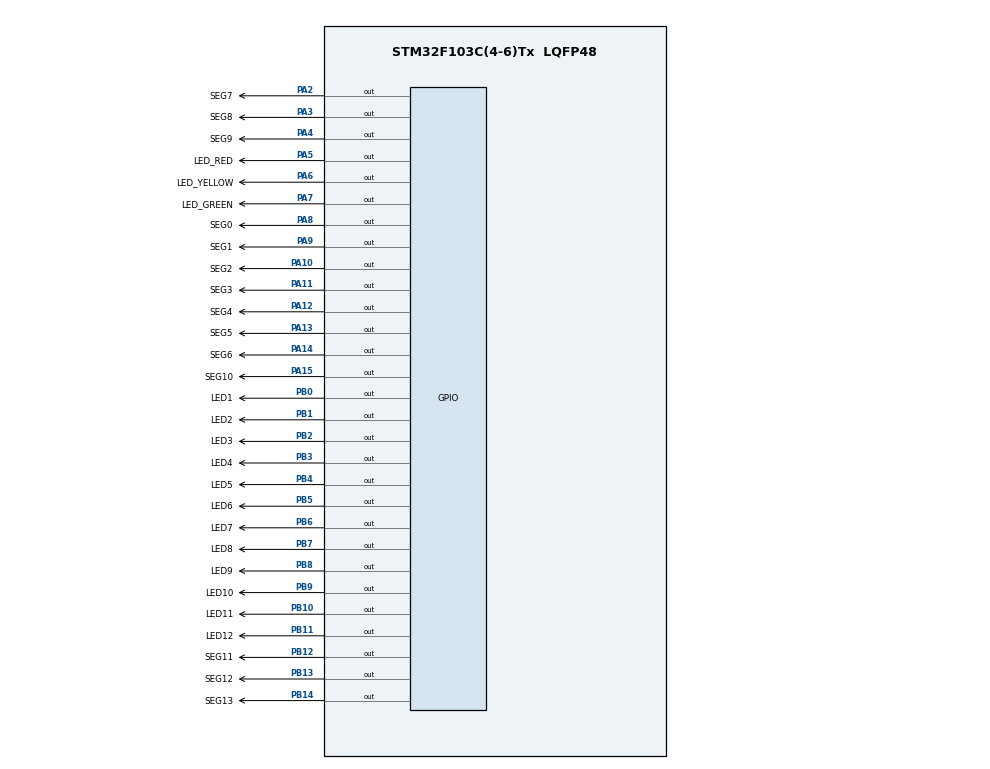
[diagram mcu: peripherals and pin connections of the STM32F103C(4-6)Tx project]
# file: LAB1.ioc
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Mcu.Family=STM32F1
Mcu.Name=STM32F103C(4-6)Tx
Mcu.Package=LQFP48
NVIC.PriorityGroup=NVIC_PRIORITYGROUP_4
PA10.GPIO_Label=SEG2
PA10.Signal=GPIO_Output
PA11.GPIO_Label=SEG3
PA11.Signal=GPIO_Output
PA12.GPIO_Label=SEG4
PA12.Signal=GPIO_Output
PA13.GPIO_Label=SEG5
PA13.Signal=GPIO_Output
PA14.GPIO_Label=SEG6
PA14.Signal=GPIO_Output
PA15.GPIO_Label=SEG10
PA15.Signal=GPIO_Output
PA2.GPIO_Label=SEG7
PA2.Signal=GPIO_Output
PA3.GPIO_Label=SEG8
PA3.Signal=GPIO_Output
PA4.GPIO_Label=SEG9
PA4.Signal=GPIO_Output
PA5.GPIO_Label=LED_RED
PA5.Signal=GPIO_Output
PA6.GPIO_Label=LED_YELLOW
PA6.Signal=GPIO_Output
PA7.GPIO_Label=LED_GREEN
PA7.Signal=GPIO_Output
PA8.GPIO_Label=SEG0
PA8.Signal=GPIO_Output
PA9.GPIO_Label=SEG1
PA9.Signal=GPIO_Output
PB0.GPIO_Label=LED1
PB0.Signal=GPIO_Output
PB1.GPIO_Label=LED2
PB1.Signal=GPIO_Output
PB10.GPIO_Label=LED11
PB10.Signal=GPIO_Output
PB11.GPIO_Label=LED12
PB11.Signal=GPIO_Output
PB12.GPIO_Label=SEG11
PB12.Signal=GPIO_Output
PB13.GPIO_Label=SEG12
PB13.Signal=GPIO_Output
PB14.GPIO_Label=SEG13
PB14.Signal=GPIO_Output
PB2.GPIO_Label=LED3
PB2.Signal=GPIO_Output
PB3.GPIO_Label=LED4
PB3.Signal=GPIO_Output
PB4.GPIO_Label=LED5
PB4.Signal=GPIO_Output
PB5.GPIO_Label=LED6
PB5.Signal=GPIO_Output
PB6.GPIO_Label=LED7
PB6.Signal=GPIO_Output
PB7.GPIO_Label=LED8
PB7.Signal=GPIO_Output
PB8.GPIO_Label=LED9
PB8.Signal=GPIO_Output
PB9.GPIO_Label=LED10
PB9.Signal=GPIO_Output
ProjectManager.HeapSize=0x200
ProjectManager.StackSize=0x400
ProjectManager.TargetToolchain=STM32CubeIDE
RCC.APB1Freq_Value=8000000
RCC.APB2Freq_Value=8000000
VP_SYS_VS_ND.Mode=No_Debug
board=custom

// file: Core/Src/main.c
/* USER CODE BEGIN Header */
/**
  ******************************************************************************
  * @file           : main.c
  * @brief          : Main program body
  ******************************************************************************
  * @attention
  *
  * <h2><center>&copy; Copyright (c) 2024 STMicroelectronics.
  * All rights reserved.</center></h2>
  *
  * This software component is licensed by ST under BSD 3-Clause license,
  * the "License"; You may not use this file except in compliance with the
  * License. You may obtain a copy of the License at:
  *                        opensource.org/licenses/BSD-3-Clause
  *
  ******************************************************************************
  */
/* USER CODE END Header */
#include "main.h"

/* USER CODE BEGIN PV */
int count;
int count1;
int count2;
int hour;
int minute;
int second;
/* USER CODE END PV */

void SystemClock_Config(void);
static void MX_GPIO_Init(void);
/* USER CODE BEGIN PFP */
void Exercise1_run();
void Exercise2_run();
void Exercise3_run();
void display7SEG(int num);
void display7SEG_2(int num);
void Exercise4_run();
void Exercise5_run();
void Exercise6_run();
void openAllClock();
void clearAllClock();
void setNumberOnClock(int num);
void clearNumberOnClock(int num);
void Exercise10_run();
/* USER CODE END PFP */

int main(void)
{

  /* MCU Configuration--------------------------------------------------------*/

  /* Reset of all peripherals, Initializes the Flash interface and the Systick. */
  HAL_Init();

  /* USER CODE BEGIN Init */
  count = 0;
  count1 = 0;
  count2 = 0;
  hour = 10;
  minute = 15;
  second = 0;
  /* USER CODE END Init */

  /* Configure the system clock */
  SystemClock_Config();

  /* Initialize all configured peripherals */
  MX_GPIO_Init();

  /* Infinite loop */
  /* USER CODE BEGIN WHILE */
  while (1)
  {
	  //Exercise1_run();
	  //Exercise2_run();
	  //Exercise3_run();
	  //Exercise4_run();
	  //Exercise5_run();
	  //Exercise6_run();
	  Exercise2_run();
	  HAL_Delay(1000);
    /* USER CODE END WHILE */

  }
}

void SystemClock_Config(void)
{
  RCC_OscInitTypeDef RCC_OscInitStruct = {0};
  RCC_ClkInitTypeDef RCC_ClkInitStruct = {0};

  /** Initializes the RCC Oscillators according to the specified parameters
  * in the RCC_OscInitTypeDef structure.
  */
  RCC_OscInitStruct.OscillatorType = RCC_OSCILLATORTYPE_HSI;
  RCC_OscInitStruct.HSIState = RCC_HSI_ON;
  RCC_OscInitStruct.HSICalibrationValue = RCC_HSICALIBRATION_DEFAULT;
  RCC_OscInitStruct.PLL.PLLState = RCC_PLL_NONE;
  if (HAL_RCC_OscConfig(&RCC_OscInitStruct) != HAL_OK)
  {
    Error_Handler();
  }
  /** Initializes the CPU, AHB and APB buses clocks
  */
  RCC_ClkInitStruct.ClockType = RCC_CLOCKTYPE_HCLK|RCC_CLOCKTYPE_SYSCLK
                              |RCC_CLOCKTYPE_PCLK1|RCC_CLOCKTYPE_PCLK2;
  RCC_ClkInitStruct.SYSCLKSource = RCC_SYSCLKSOURCE_HSI;
  RCC_ClkInitStruct.AHBCLKDivider = RCC_SYSCLK_DIV1;
  RCC_ClkInitStruct.APB1CLKDivider = RCC_HCLK_DIV1;
  RCC_ClkInitStruct.APB2CLKDivider = RCC_HCLK_DIV1;

  if (HAL_RCC_ClockConfig(&RCC_ClkInitStruct, FLASH_LATENCY_0) != HAL_OK)
  {
    Error_Handler();
  }
}

static void MX_GPIO_Init(void)
{
  GPIO_InitTypeDef GPIO_InitStruct = {0};

  /* GPIO Ports Clock Enable */
  __HAL_RCC_GPIOA_CLK_ENABLE();
  __HAL_RCC_GPIOB_CLK_ENABLE();

  /*Configure GPIO pin Output Level */
  HAL_GPIO_WritePin(GPIOA, SEG7_Pin|SEG8_Pin|SEG9_Pin|LED_RED_Pin
                          |LED_YELLOW_Pin|LED_GREEN_Pin|SEG0_Pin|SEG1_Pin
                          |SEG2_Pin|SEG3_Pin|SEG4_Pin|SEG5_Pin
                          |SEG6_Pin|SEG10_Pin, GPIO_PIN_RESET);

  /*Configure GPIO pin Output Level */
  HAL_GPIO_WritePin(GPIOB, LED1_Pin|LED2_Pin|LED3_Pin|LED11_Pin
                          |LED12_Pin|SEG11_Pin|SEG12_Pin|SEG13_Pin
                          |LED4_Pin|LED5_Pin|LED6_Pin|LED7_Pin
                          |LED8_Pin|LED9_Pin|LED10_Pin, GPIO_PIN_RESET);

  /*Configure GPIO pins : SEG7_Pin SEG8_Pin SEG9_Pin LED_RED_Pin
                           LED_YELLOW_Pin LED_GREEN_Pin SEG0_Pin SEG1_Pin
                           SEG2_Pin SEG3_Pin SEG4_Pin SEG5_Pin
                           SEG6_Pin SEG10_Pin */
  GPIO_InitStruct.Pin = SEG7_Pin|SEG8_Pin|SEG9_Pin|LED_RED_Pin
                          |LED_YELLOW_Pin|LED_GREEN_Pin|SEG0_Pin|SEG1_Pin
                          |SEG2_Pin|SEG3_Pin|SEG4_Pin|SEG5_Pin
                          |SEG6_Pin|SEG10_Pin;
  GPIO_InitStruct.Mode = GPIO_MODE_OUTPUT_PP;
  GPIO_InitStruct.Pull = GPIO_NOPULL;
  GPIO_InitStruct.Speed = GPIO_SPEED_FREQ_LOW;
  HAL_GPIO_Init(GPIOA, &GPIO_InitStruct);

  /*Configure GPIO pins : LED1_Pin LED2_Pin LED3_Pin LED11_Pin
                           LED12_Pin SEG11_Pin SEG12_Pin SEG13_Pin
                           LED4_Pin LED5_Pin LED6_Pin LED7_Pin
                           LED8_Pin LED9_Pin LED10_Pin */
  GPIO_InitStruct.Pin = LED1_Pin|LED2_Pin|LED3_Pin|LED11_Pin
                          |LED12_Pin|SEG11_Pin|SEG12_Pin|SEG13_Pin
                          |LED4_Pin|LED5_Pin|LED6_Pin|LED7_Pin
                          |LED8_Pin|LED9_Pin|LED10_Pin;
  GPIO_InitStruct.Mode = GPIO_MODE_OUTPUT_PP;
  GPIO_InitStruct.Pull = GPIO_NOPULL;
  GPIO_InitStruct.Speed = GPIO_SPEED_FREQ_LOW;
  HAL_GPIO_Init(GPIOB, &GPIO_InitStruct);

}

/* USER CODE BEGIN 4 */
void Exercise1_run()
{
	if (count>=4) count = 0;

	if (count <2)
	{
		HAL_GPIO_WritePin(LED_RED_GPIO_Port, LED_RED_Pin, SET);
		HAL_GPIO_WritePin(LED_YELLOW_GPIO_Port, LED_YELLOW_Pin, RESET);
	}
	if (count >= 2)
	{
		HAL_GPIO_WritePin(LED_RED_GPIO_Port, LED_RED_Pin, RESET);
		HAL_GPIO_WritePin(LED_YELLOW_GPIO_Port, LED_YELLOW_Pin, SET);
	}
	count++;
}

void Exercise2_run()
{
	if (count >= 10) count = 0;
	if (count < 5)
	{
		HAL_GPIO_WritePin(LED_RED_GPIO_Port, LED_RED_Pin, RESET);
		HAL_GPIO_WritePin(LED_YELLOW_GPIO_Port, LED_YELLOW_Pin, SET);
		HAL_GPIO_WritePin(LED_GREEN_GPIO_Port, LED_GREEN_Pin, SET);
	}
	if (count >= 5)
	{
		if (count < 7)
		{
			HAL_GPIO_WritePin(LED_RED_GPIO_Port, LED_RED_Pin, SET);
			HAL_GPIO_WritePin(LED_YELLOW_GPIO_Port, LED_YELLOW_Pin, RESET);
			HAL_GPIO_WritePin(LED_GREEN_GPIO_Port, LED_GREEN_Pin, SET);
		}
		if (count >= 7)
		{
			HAL_GPIO_WritePin(LED_RED_GPIO_Port, LED_RED_Pin, SET);
			HAL_GPIO_WritePin(LED_YELLOW_GPIO_Port, LED_YELLOW_Pin, SET);
			HAL_GPIO_WritePin(LED_GREEN_GPIO_Port, LED_GREEN_Pin, RESET);
		}
	}
	count++;
}

void Exercise3_run()
{
	if (count < 5)
		{
			if (count < 3)
			{
				HAL_GPIO_WritePin(LED1_GPIO_Port, LED1_Pin, SET);
				HAL_GPIO_WritePin(LED2_GPIO_Port, LED2_Pin, RESET);
				HAL_GPIO_WritePin(LED3_GPIO_Port, LED2_Pin, RESET);
				HAL_GPIO_WritePin(LED4_GPIO_Port, LED4_Pin, RESET);
				HAL_GPIO_WritePin(LED5_GPIO_Port, LED5_Pin, RESET);
				HAL_GPIO_WritePin(LED6_GPIO_Port, LED6_Pin, SET);
				HAL_GPIO_WritePin(LED7_GPIO_Port, LED7_Pin, SET);
				HAL_GPIO_WritePin(LED8_GPIO_Port, LED8_Pin, RESET);
				HAL_GPIO_WritePin(LED9_GPIO_Port, LED9_Pin, RESET);
				HAL_GPIO_WritePin(LED10_GPIO_Port, LED10_Pin, RESET);
				HAL_GPIO_WritePin(LED11_GPIO_Port, LED11_Pin, RESET);
				HAL_GPIO_WritePin(LED12_GPIO_Port, LED12_Pin, SET);
			}

			if (count >= 3)
			{
				HAL_GPIO_WritePin(LED1_GPIO_Port, LED1_Pin, SET);
				HAL_GPIO_WritePin(LED2_GPIO_Port, LED2_Pin, RESET);
				HAL_GPIO_WritePin(LED3_GPIO_Port, LED2_Pin, RESET);
				HAL_GPIO_WritePin(LED4_GPIO_Port, LED4_Pin, RESET);
				HAL_GPIO_WritePin(LED5_GPIO_Port, LED5_Pin, SET);
				HAL_GPIO_WritePin(LED6_GPIO_Port, LED6_Pin, RESET);
				HAL_GPIO_WritePin(LED7_GPIO_Port, LED7_Pin, SET);
				HAL_GPIO_WritePin(LED8_GPIO_Port, LED8_Pin, RESET);
				HAL_GPIO_WritePin(LED9_GPIO_Port, LED9_Pin, RESET);
				HAL_GPIO_WritePin(LED10_GPIO_Port, LED10_Pin, RESET);
				HAL_GPIO_WritePin(LED11_GPIO_Port, LED11_Pin, SET);
				HAL_GPIO_WritePin(LED12_GPIO_Port, LED12_Pin, RESET);
			}
		}
		if (count >= 5)
		{
			if (count < 8)
			{
				HAL_GPIO_WritePin(LED1_GPIO_Port, LED1_Pin, RESET);
				HAL_GPIO_WritePin(LED2_GPIO_Port, LED2_Pin, RESET);
				HAL_GPIO_WritePin(LED3_GPIO_Port, LED3_Pin, SET);
				HAL_GPIO_WritePin(LED4_GPIO_Port, LED4_Pin, SET);
				HAL_GPIO_WritePin(LED5_GPIO_Port, LED5_Pin, RESET);
				HAL_GPIO_WritePin(LED6_GPIO_Port, LED6_Pin, RESET);
				HAL_GPIO_WritePin(LED7_GPIO_Port, LED7_Pin, RESET);
				HAL_GPIO_WritePin(LED8_GPIO_Port, LED8_Pin, RESET);
				HAL_GPIO_WritePin(LED9_GPIO_Port, LED9_Pin, SET);
				HAL_GPIO_WritePin(LED10_GPIO_Port, LED10_Pin, SET);
				HAL_GPIO_WritePin(LED11_GPIO_Port, LED11_Pin, RESET);
				HAL_GPIO_WritePin(LED12_GPIO_Port, LED12_Pin, RESET);
			}
			if (count >= 8)
			{
				HAL_GPIO_WritePin(LED1_GPIO_Port, LED1_Pin, RESET);
				HAL_GPIO_WritePin(LED2_GPIO_Port, LED2_Pin, SET);
				HAL_GPIO_WritePin(LED3_GPIO_Port, LED3_Pin, RESET);
				HAL_GPIO_WritePin(LED4_GPIO_Port, LED4_Pin, SET);
				HAL_GPIO_WritePin(LED5_GPIO_Port, LED5_Pin, RESET);
				HAL_GPIO_WritePin(LED6_GPIO_Port, LED6_Pin, RESET);
				HAL_GPIO_WritePin(LED7_GPIO_Port, LED7_Pin, RESET);
				HAL_GPIO_WritePin(LED8_GPIO_Port, LED8_Pin, SET);
				HAL_GPIO_WritePin(LED9_GPIO_Port, LED9_Pin, RESET);
				HAL_GPIO_WritePin(LED10_GPIO_Port, LED10_Pin, SET);
				HAL_GPIO_WritePin(LED11_GPIO_Port, LED11_Pin, RESET);
				HAL_GPIO_WritePin(LED12_GPIO_Port, LED12_Pin, RESET);
			}
		}
		count++;
		if (count >= 10) count = 0;
}

void display7SEG(int num)
{
	switch (num){
	case 0:
		HAL_GPIO_WritePin(SEG0_GPIO_Port, SEG0_Pin, RESET);
		HAL_GPIO_WritePin(SEG1_GPIO_Port, SEG1_Pin, RESET);
		HAL_GPIO_WritePin(SEG2_GPIO_Port, SEG2_Pin, RESET);
		HAL_GPIO_WritePin(SEG3_GPIO_Port, SEG3_Pin, RESET);
		HAL_GPIO_WritePin(SEG4_GPIO_Port, SEG4_Pin, RESET);
		HAL_GPIO_WritePin(SEG5_GPIO_Port, SEG5_Pin, RESET);
		HAL_GPIO_WritePin(SEG6_GPIO_Port, SEG6_Pin, SET);
		break;
	case 1:
		HAL_GPIO_WritePin(SEG0_GPIO_Port, SEG0_Pin, SET);
		HAL_GPIO_WritePin(SEG1_GPIO_Port, SEG1_Pin, RESET);
		HAL_GPIO_WritePin(SEG2_GPIO_Port, SEG2_Pin, RESET);
		HAL_GPIO_WritePin(SEG3_GPIO_Port, SEG3_Pin, SET);
		HAL_GPIO_WritePin(SEG4_GPIO_Port, SEG4_Pin, SET);
		HAL_GPIO_WritePin(SEG5_GPIO_Port, SEG5_Pin, SET);
		HAL_GPIO_WritePin(SEG6_GPIO_Port, SEG6_Pin, SET);
		break;
	case 2:
		HAL_GPIO_WritePin(SEG0_GPIO_Port, SEG0_Pin, RESET);
		HAL_GPIO_WritePin(SEG1_GPIO_Port, SEG1_Pin, RESET);
		HAL_GPIO_WritePin(SEG2_GPIO_Port, SEG2_Pin, SET);
		HAL_GPIO_WritePin(SEG3_GPIO_Port, SEG3_Pin, RESET);
		HAL_GPIO_WritePin(SEG4_GPIO_Port, SEG4_Pin, RESET);
		HAL_GPIO_WritePin(SEG5_GPIO_Port, SEG5_Pin, SET);
		HAL_GPIO_WritePin(SEG6_GPIO_Port, SEG6_Pin, RESET);
		break;
	case 3:
		HAL_GPIO_WritePin(SEG0_GPIO_Port, SEG0_Pin, RESET);
		HAL_GPIO_WritePin(SEG1_GPIO_Port, SEG1_Pin, RESET);
		HAL_GPIO_WritePin(SEG2_GPIO_Port, SEG2_Pin, RESET);
		HAL_GPIO_WritePin(SEG3_GPIO_Port, SEG3_Pin, RESET);
		HAL_GPIO_WritePin(SEG4_GPIO_Port, SEG4_Pin, SET);
		HAL_GPIO_WritePin(SEG5_GPIO_Port, SEG5_Pin, SET);
		HAL_GPIO_WritePin(SEG6_GPIO_Port, SEG6_Pin, RESET);
		break;
	case 4:
		HAL_GPIO_WritePin(SEG0_GPIO_Port, SEG0_Pin, SET);
		HAL_GPIO_WritePin(SEG1_GPIO_Port, SEG1_Pin, RESET);
		HAL_GPIO_WritePin(SEG2_GPIO_Port, SEG2_Pin, RESET);
		HAL_GPIO_WritePin(SEG3_GPIO_Port, SEG3_Pin, SET);
		HAL_GPIO_WritePin(SEG4_GPIO_Port, SEG4_Pin, SET);
		HAL_GPIO_WritePin(SEG5_GPIO_Port, SEG5_Pin, RESET);
		HAL_GPIO_WritePin(SEG6_GPIO_Port, SEG6_Pin, RESET);
		break;
	case 5:
		HAL_GPIO_WritePin(SEG0_GPIO_Port, SEG0_Pin, RESET);
		HAL_GPIO_WritePin(SEG1_GPIO_Port, SEG1_Pin, SET);
		HAL_GPIO_WritePin(SEG2_GPIO_Port, SEG2_Pin, RESET);
		HAL_GPIO_WritePin(SEG3_GPIO_Port, SEG3_Pin, RESET);
		HAL_GPIO_WritePin(SEG4_GPIO_Port, SEG4_Pin, SET);
		HAL_GPIO_WritePin(SEG5_GPIO_Port, SEG5_Pin, RESET);
		HAL_GPIO_WritePin(SEG6_GPIO_Port, SEG6_Pin, RESET);
		break;
	case 6:
		HAL_GPIO_WritePin(SEG0_GPIO_Port, SEG0_Pin, RESET);
		HAL_GPIO_WritePin(SEG1_GPIO_Port, SEG1_Pin, SET);
		HAL_GPIO_WritePin(SEG2_GPIO_Port, SEG2_Pin, RESET);
		HAL_GPIO_WritePin(SEG3_GPIO_Port, SEG3_Pin, RESET);
		HAL_GPIO_WritePin(SEG4_GPIO_Port, SEG4_Pin, RESET);
		HAL_GPIO_WritePin(SEG5_GPIO_Port, SEG5_Pin, RESET);
		HAL_GPIO_WritePin(SEG6_GPIO_Port, SEG6_Pin, RESET);
		break;
	case 7:
		HAL_GPIO_WritePin(SEG0_GPIO_Port, SEG0_Pin, RESET);
		HAL_GPIO_WritePin(SEG1_GPIO_Port, SEG1_Pin, RESET);
		HAL_GPIO_WritePin(SEG2_GPIO_Port, SEG2_Pin, RESET);
		HAL_GPIO_WritePin(SEG3_GPIO_Port, SEG3_Pin, SET);
		HAL_GPIO_WritePin(SEG4_GPIO_Port, SEG4_Pin, SET);
		HAL_GPIO_WritePin(SEG5_GPIO_Port, SEG5_Pin, SET);
		HAL_GPIO_WritePin(SEG6_GPIO_Port, SEG6_Pin, SET);
		break;
	case 8:
		HAL_GPIO_WritePin(SEG0_GPIO_Port, SEG0_Pin, RESET);
		HAL_GPIO_WritePin(SEG1_GPIO_Port, SEG1_Pin, RESET);
		HAL_GPIO_WritePin(SEG2_GPIO_Port, SEG2_Pin, RESET);
		HAL_GPIO_WritePin(SEG3_GPIO_Port, SEG3_Pin, RESET);
		HAL_GPIO_WritePin(SEG4_GPIO_Port, SEG4_Pin, RESET);
		HAL_GPIO_WritePin(SEG5_GPIO_Port, SEG5_Pin, RESET);
		HAL_GPIO_WritePin(SEG6_GPIO_Port, SEG6_Pin, RESET);
		break;
	case 9:
		HAL_GPIO_WritePin(SEG0_GPIO_Port, SEG0_Pin, RESET);
		HAL_GPIO_WritePin(SEG1_GPIO_Port, SEG1_Pin, RESET);
		HAL_GPIO_WritePin(SEG2_GPIO_Port, SEG2_Pin, RESET);
		HAL_GPIO_WritePin(SEG3_GPIO_Port, SEG3_Pin, RESET);
		HAL_GPIO_WritePin(SEG4_GPIO_Port, SEG4_Pin, SET);
		HAL_GPIO_WritePin(SEG5_GPIO_Port, SEG5_Pin, RESET);
		HAL_GPIO_WritePin(SEG6_GPIO_Port, SEG6_Pin, RESET);
		break;
	default:
		break;
	}
}

void Exercise4_run()
{
	if (count >= 10) count = 0;
	display7SEG(count++);
}

void display7SEG_2(int num)
{
	switch (num){
	case 0:
		HAL_GPIO_WritePin(SEG7_GPIO_Port, SEG7_Pin, RESET);
		HAL_GPIO_WritePin(SEG8_GPIO_Port, SEG8_Pin, RESET);
		HAL_GPIO_WritePin(SEG9_GPIO_Port, SEG9_Pin, RESET);
		HAL_GPIO_WritePin(SEG10_GPIO_Port, SEG10_Pin, RESET);
		HAL_GPIO_WritePin(SEG11_GPIO_Port, SEG11_Pin, RESET);
		HAL_GPIO_WritePin(SEG12_GPIO_Port, SEG12_Pin, RESET);
		HAL_GPIO_WritePin(SEG13_GPIO_Port, SEG13_Pin, SET);
		break;
	case 1:
		HAL_GPIO_WritePin(SEG7_GPIO_Port, SEG7_Pin, SET);
		HAL_GPIO_WritePin(SEG8_GPIO_Port, SEG8_Pin, RESET);
		HAL_GPIO_WritePin(SEG9_GPIO_Port, SEG9_Pin, RESET);
		HAL_GPIO_WritePin(SEG10_GPIO_Port, SEG10_Pin, SET);
		HAL_GPIO_WritePin(SEG11_GPIO_Port, SEG11_Pin, SET);
		HAL_GPIO_WritePin(SEG12_GPIO_Port, SEG12_Pin, SET);
		HAL_GPIO_WritePin(SEG13_GPIO_Port, SEG13_Pin, SET);
		break;
	case 2:
		HAL_GPIO_WritePin(SEG7_GPIO_Port, SEG7_Pin, RESET);
		HAL_GPIO_WritePin(SEG8_GPIO_Port, SEG8_Pin, RESET);
		HAL_GPIO_WritePin(SEG9_GPIO_Port, SEG9_Pin, SET);
		HAL_GPIO_WritePin(SEG10_GPIO_Port, SEG10_Pin, RESET);
		HAL_GPIO_WritePin(SEG11_GPIO_Port, SEG11_Pin, RESET);
		HAL_GPIO_WritePin(SEG12_GPIO_Port, SEG12_Pin, SET);
		HAL_GPIO_WritePin(SEG13_GPIO_Port, SEG13_Pin, RESET);
		break;
	case 3:
		HAL_GPIO_WritePin(SEG7_GPIO_Port, SEG7_Pin, RESET);
		HAL_GPIO_WritePin(SEG8_GPIO_Port, SEG8_Pin, RESET);
		HAL_GPIO_WritePin(SEG9_GPIO_Port, SEG9_Pin, RESET);
		HAL_GPIO_WritePin(SEG10_GPIO_Port, SEG10_Pin, RESET);
		HAL_GPIO_WritePin(SEG11_GPIO_Port, SEG11_Pin, SET);
		HAL_GPIO_WritePin(SEG12_GPIO_Port, SEG12_Pin, SET);
		HAL_GPIO_WritePin(SEG13_GPIO_Port, SEG13_Pin, RESET);
		break;
	case 4:
		HAL_GPIO_WritePin(SEG7_GPIO_Port, SEG7_Pin, SET);
		HAL_GPIO_WritePin(SEG8_GPIO_Port, SEG8_Pin, RESET);
		HAL_GPIO_WritePin(SEG9_GPIO_Port, SEG9_Pin, RESET);
		HAL_GPIO_WritePin(SEG10_GPIO_Port, SEG10_Pin, SET);
		HAL_GPIO_WritePin(SEG11_GPIO_Port, SEG11_Pin, SET);
		HAL_GPIO_WritePin(SEG12_GPIO_Port, SEG12_Pin, RESET);
		HAL_GPIO_WritePin(SEG13_GPIO_Port, SEG13_Pin, RESET);
		break;
	case 5:
		HAL_GPIO_WritePin(SEG7_GPIO_Port, SEG7_Pin, RESET);
		HAL_GPIO_WritePin(SEG8_GPIO_Port, SEG8_Pin, SET);
		HAL_GPIO_WritePin(SEG9_GPIO_Port, SEG9_Pin, RESET);
		HAL_GPIO_WritePin(SEG10_GPIO_Port, SEG10_Pin, RESET);
		HAL_GPIO_WritePin(SEG11_GPIO_Port, SEG11_Pin, SET);
		HAL_GPIO_WritePin(SEG12_GPIO_Port, SEG12_Pin, RESET);
		HAL_GPIO_WritePin(SEG13_GPIO_Port, SEG13_Pin, RESET);
		break;
	case 6:
		HAL_GPIO_WritePin(SEG7_GPIO_Port, SEG7_Pin, RESET);
		HAL_GPIO_WritePin(SEG8_GPIO_Port, SEG8_Pin, SET);
		HAL_GPIO_WritePin(SEG9_GPIO_Port, SEG9_Pin, RESET);
		HAL_GPIO_WritePin(SEG10_GPIO_Port, SEG10_Pin, RESET);
		HAL_GPIO_WritePin(SEG11_GPIO_Port, SEG11_Pin, RESET);
		HAL_GPIO_WritePin(SEG12_GPIO_Port, SEG12_Pin, RESET);
		HAL_GPIO_WritePin(SEG13_GPIO_Port, SEG13_Pin, RESET);
		break;
	case 7:
		HAL_GPIO_WritePin(SEG7_GPIO_Port, SEG7_Pin, RESET);
		HAL_GPIO_WritePin(SEG8_GPIO_Port, SEG8_Pin, RESET);
		HAL_GPIO_WritePin(SEG9_GPIO_Port, SEG9_Pin, RESET);
		HAL_GPIO_WritePin(SEG10_GPIO_Port, SEG10_Pin, SET);
		HAL_GPIO_WritePin(SEG11_GPIO_Port, SEG11_Pin, SET);
		HAL_GPIO_WritePin(SEG12_GPIO_Port, SEG12_Pin, SET);
		HAL_GPIO_WritePin(SEG13_GPIO_Port, SEG13_Pin, SET);
		break;
	case 8:
		HAL_GPIO_WritePin(SEG7_GPIO_Port, SEG7_Pin, RESET);
		HAL_GPIO_WritePin(SEG8_GPIO_Port, SEG8_Pin, RESET);
		HAL_GPIO_WritePin(SEG9_GPIO_Port, SEG9_Pin, RESET);
		HAL_GPIO_WritePin(SEG10_GPIO_Port, SEG10_Pin, RESET);
		HAL_GPIO_WritePin(SEG11_GPIO_Port, SEG11_Pin, RESET);
		HAL_GPIO_WritePin(SEG12_GPIO_Port, SEG12_Pin, RESET);
		HAL_GPIO_WritePin(SEG13_GPIO_Port, SEG13_Pin, RESET);
		break;
	case 9:
		HAL_GPIO_WritePin(SEG7_GPIO_Port, SEG7_Pin, RESET);
		HAL_GPIO_WritePin(SEG8_GPIO_Port, SEG8_Pin, RESET);
		HAL_GPIO_WritePin(SEG9_GPIO_Port, SEG9_Pin, RESET);
		HAL_GPIO_WritePin(SEG10_GPIO_Port, SEG10_Pin, RESET);
		HAL_GPIO_WritePin(SEG11_GPIO_Port, SEG11_Pin, SET);
		HAL_GPIO_WritePin(SEG12_GPIO_Port, SEG12_Pin, RESET);
		HAL_GPIO_WritePin(SEG13_GPIO_Port, SEG13_Pin, RESET);
		break;
	default:
		break;
	}
}

void Exercise5_run()
{
	switch (count){
	case 0:
		count1 = 5;
		count2 = 3;
		break;
	case 3:
		count2 = 2;
		break;
	case 5:
		count1 = 3;
		count2 = 5;
		break;
	case 8:
		count1 = 2;
		break;
	default:
		break;
	}
	display7SEG(count1);
	display7SEG_2(count2);
	Exercise3_run();
	count1--;
	count2--;
}

void Exercise6_run()
{
	if (count>=12) count = 0;
	switch (count)
	{
	case 0:
		HAL_GPIO_WritePin(LED1_GPIO_Port, LED1_Pin, RESET);
		HAL_GPIO_WritePin(LED2_GPIO_Port, LED2_Pin, RESET);
		HAL_GPIO_WritePin(LED3_GPIO_Port, LED3_Pin, RESET);
		HAL_GPIO_WritePin(LED4_GPIO_Port, LED4_Pin, RESET);
		HAL_GPIO_WritePin(LED5_GPIO_Port, LED5_Pin, RESET);
		HAL_GPIO_WritePin(LED6_GPIO_Port, LED6_Pin, RESET);
		HAL_GPIO_WritePin(LED7_GPIO_Port, LED7_Pin, RESET);
		HAL_GPIO_WritePin(LED8_GPIO_Port, LED8_Pin, RESET);
		HAL_GPIO_WritePin(LED9_GPIO_Port, LED9_Pin, RESET);
		HAL_GPIO_WritePin(LED10_GPIO_Port, LED10_Pin, RESET);
		HAL_GPIO_WritePin(LED11_GPIO_Port, LED11_Pin, SET);
		HAL_GPIO_WritePin(LED12_GPIO_Port, LED12_Pin, RESET);
		break;
	case 1:
		HAL_GPIO_WritePin(LED1_GPIO_Port, LED1_Pin, RESET);
		HAL_GPIO_WritePin(LED2_GPIO_Port, LED2_Pin, RESET);
		HAL_GPIO_WritePin(LED3_GPIO_Port, LED3_Pin, RESET);
		HAL_GPIO_WritePin(LED4_GPIO_Port, LED4_Pin, RESET);
		HAL_GPIO_WritePin(LED5_GPIO_Port, LED5_Pin, RESET);
		HAL_GPIO_WritePin(LED6_GPIO_Port, LED6_Pin, RESET);
		HAL_GPIO_WritePin(LED7_GPIO_Port, LED7_Pin, RESET);
		HAL_GPIO_WritePin(LED8_GPIO_Port, LED8_Pin, RESET);
		HAL_GPIO_WritePin(LED9_GPIO_Port, LED9_Pin, RESET);
		HAL_GPIO_WritePin(LED10_GPIO_Port, LED10_Pin, RESET);
		HAL_GPIO_WritePin(LED11_GPIO_Port, LED11_Pin, RESET);
		HAL_GPIO_WritePin(LED12_GPIO_Port, LED12_Pin, SET);
		break;
	case 2:
		HAL_GPIO_WritePin(LED1_GPIO_Port, LED1_Pin, RESET);
		HAL_GPIO_WritePin(LED2_GPIO_Port, LED2_Pin, RESET);
		HAL_GPIO_WritePin(LED3_GPIO_Port, LED3_Pin, RESET);
		HAL_GPIO_WritePin(LED4_GPIO_Port, LED4_Pin, RESET);
		HAL_GPIO_WritePin(LED5_GPIO_Port, LED5_Pin, RESET);
		HAL_GPIO_WritePin(LED6_GPIO_Port, LED6_Pin, RESET);
		HAL_GPIO_WritePin(LED7_GPIO_Port, LED7_Pin, SET);
		HAL_GPIO_WritePin(LED8_GPIO_Port, LED8_Pin, RESET);
		HAL_GPIO_WritePin(LED9_GPIO_Port, LED9_Pin, RESET);
		HAL_GPIO_WritePin(LED10_GPIO_Port, LED10_Pin, RESET);
		HAL_GPIO_WritePin(LED11_GPIO_Port, LED11_Pin, RESET);
		HAL_GPIO_WritePin(LED12_GPIO_Port, LED12_Pin, RESET);
		break;
	case 3:
		HAL_GPIO_WritePin(LED1_GPIO_Port, LED1_Pin, RESET);
		HAL_GPIO_WritePin(LED2_GPIO_Port, LED2_Pin, RESET);
		HAL_GPIO_WritePin(LED3_GPIO_Port, LED3_Pin, RESET);
		HAL_GPIO_WritePin(LED4_GPIO_Port, LED4_Pin, RESET);
		HAL_GPIO_WritePin(LED5_GPIO_Port, LED5_Pin, RESET);
		HAL_GPIO_WritePin(LED6_GPIO_Port, LED6_Pin, RESET);
		HAL_GPIO_WritePin(LED7_GPIO_Port, LED7_Pin, RESET);
		HAL_GPIO_WritePin(LED8_GPIO_Port, LED8_Pin, SET);
		HAL_GPIO_WritePin(LED9_GPIO_Port, LED9_Pin, RESET);
		HAL_GPIO_WritePin(LED10_GPIO_Port, LED10_Pin, RESET);
		HAL_GPIO_WritePin(LED11_GPIO_Port, LED11_Pin, RESET);
		HAL_GPIO_WritePin(LED12_GPIO_Port, LED12_Pin, RESET);
		break;
	case 4:
		HAL_GPIO_WritePin(LED1_GPIO_Port, LED1_Pin, RESET);
		HAL_GPIO_WritePin(LED2_GPIO_Port, LED2_Pin, RESET);
		HAL_GPIO_WritePin(LED3_GPIO_Port, LED3_Pin, RESET);
		HAL_GPIO_WritePin(LED4_GPIO_Port, LED4_Pin, RESET);
		HAL_GPIO_WritePin(LED5_GPIO_Port, LED5_Pin, RESET);
		HAL_GPIO_WritePin(LED6_GPIO_Port, LED6_Pin, RESET);
		HAL_GPIO_WritePin(LED7_GPIO_Port, LED7_Pin, RESET);
		HAL_GPIO_WritePin(LED8_GPIO_Port, LED8_Pin, RESET);
		HAL_GPIO_WritePin(LED9_GPIO_Port, LED9_Pin, SET);
		HAL_GPIO_WritePin(LED10_GPIO_Port, LED10_Pin, RESET);
		HAL_GPIO_WritePin(LED11_GPIO_Port, LED11_Pin, RESET);
		HAL_GPIO_WritePin(LED12_GPIO_Port, LED12_Pin, RESET);
		break;
	case 5:
		HAL_GPIO_WritePin(LED1_GPIO_Port, LED1_Pin, RESET);
		HAL_GPIO_WritePin(LED2_GPIO_Port, LED2_Pin, RESET);
		HAL_GPIO_WritePin(LED3_GPIO_Port, LED3_Pin, RESET);
		HAL_GPIO_WritePin(LED4_GPIO_Port, LED4_Pin, RESET);
		HAL_GPIO_WritePin(LED5_GPIO_Port, LED5_Pin, RESET);
		HAL_GPIO_WritePin(LED6_GPIO_Port, LED6_Pin, SET);
		HAL_GPIO_WritePin(LED7_GPIO_Port, LED7_Pin, RESET);
		HAL_GPIO_WritePin(LED8_GPIO_Port, LED8_Pin, RESET);
		HAL_GPIO_WritePin(LED9_GPIO_Port, LED9_Pin, RESET);
		HAL_GPIO_WritePin(LED10_GPIO_Port, LED10_Pin, RESET);
		HAL_GPIO_WritePin(LED11_GPIO_Port, LED11_Pin, RESET);
		HAL_GPIO_WritePin(LED12_GPIO_Port, LED12_Pin, RESET);
		break;
	case 6:
		HAL_GPIO_WritePin(LED1_GPIO_Port, LED1_Pin, RESET);
		HAL_GPIO_WritePin(LED2_GPIO_Port, LED2_Pin, RESET);
		HAL_GPIO_WritePin(LED3_GPIO_Port, LED3_Pin, RESET);
		HAL_GPIO_WritePin(LED4_GPIO_Port, LED4_Pin, RESET);
		HAL_GPIO_WritePin(LED5_GPIO_Port, LED5_Pin, SET);
		HAL_GPIO_WritePin(LED6_GPIO_Port, LED6_Pin, RESET);
		HAL_GPIO_WritePin(LED7_GPIO_Port, LED7_Pin, RESET);
		HAL_GPIO_WritePin(LED8_GPIO_Port, LED8_Pin, RESET);
		HAL_GPIO_WritePin(LED9_GPIO_Port, LED9_Pin, RESET);
		HAL_GPIO_WritePin(LED10_GPIO_Port, LED10_Pin, RESET);
		HAL_GPIO_WritePin(LED11_GPIO_Port, LED11_Pin, RESET);
		HAL_GPIO_WritePin(LED12_GPIO_Port, LED12_Pin, RESET);
		break;
	case 7:
		HAL_GPIO_WritePin(LED1_GPIO_Port, LED1_Pin, RESET);
		HAL_GPIO_WritePin(LED2_GPIO_Port, LED2_Pin, RESET);
		HAL_GPIO_WritePin(LED3_GPIO_Port, LED3_Pin, RESET);
		HAL_GPIO_WritePin(LED4_GPIO_Port, LED4_Pin, SET);
		HAL_GPIO_WritePin(LED5_GPIO_Port, LED5_Pin, RESET);
		HAL_GPIO_WritePin(LED6_GPIO_Port, LED6_Pin, RESET);
		HAL_GPIO_WritePin(LED7_GPIO_Port, LED7_Pin, RESET);
		HAL_GPIO_WritePin(LED8_GPIO_Port, LED8_Pin, RESET);
		HAL_GPIO_WritePin(LED9_GPIO_Port, LED9_Pin, RESET);
		HAL_GPIO_WritePin(LED10_GPIO_Port, LED10_Pin, RESET);
		HAL_GPIO_WritePin(LED11_GPIO_Port, LED11_Pin, RESET);
		HAL_GPIO_WritePin(LED12_GPIO_Port, LED12_Pin, RESET);
		break;
	case 8:
		HAL_GPIO_WritePin(LED1_GPIO_Port, LED1_Pin, RESET);
		HAL_GPIO_WritePin(LED2_GPIO_Port, LED2_Pin, RESET);
		HAL_GPIO_WritePin(LED3_GPIO_Port, LED3_Pin, SET);
		HAL_GPIO_WritePin(LED4_GPIO_Port, LED4_Pin, RESET);
		HAL_GPIO_WritePin(LED5_GPIO_Port, LED5_Pin, RESET);
		HAL_GPIO_WritePin(LED6_GPIO_Port, LED6_Pin, RESET);
		HAL_GPIO_WritePin(LED7_GPIO_Port, LED7_Pin, RESET);
		HAL_GPIO_WritePin(LED8_GPIO_Port, LED8_Pin, RESET);
		HAL_GPIO_WritePin(LED9_GPIO_Port, LED9_Pin, RESET);
		HAL_GPIO_WritePin(LED10_GPIO_Port, LED10_Pin, RESET);
		HAL_GPIO_WritePin(LED11_GPIO_Port, LED11_Pin, RESET);
		HAL_GPIO_WritePin(LED12_GPIO_Port, LED12_Pin, RESET);
		break;
	case 9:
		HAL_GPIO_WritePin(LED1_GPIO_Port, LED1_Pin, RESET);
		HAL_GPIO_WritePin(LED2_GPIO_Port, LED2_Pin, SET);
		HAL_GPIO_WritePin(LED3_GPIO_Port, LED3_Pin, RESET);
		HAL_GPIO_WritePin(LED4_GPIO_Port, LED4_Pin, RESET);
		HAL_GPIO_WritePin(LED5_GPIO_Port, LED5_Pin, RESET);
		HAL_GPIO_WritePin(LED6_GPIO_Port, LED6_Pin, RESET);
		HAL_GPIO_WritePin(LED7_GPIO_Port, LED7_Pin, RESET);
		HAL_GPIO_WritePin(LED8_GPIO_Port, LED8_Pin, RESET);
		HAL_GPIO_WritePin(LED9_GPIO_Port, LED9_Pin, RESET);
		HAL_GPIO_WritePin(LED10_GPIO_Port, LED10_Pin, RESET);
		HAL_GPIO_WritePin(LED11_GPIO_Port, LED11_Pin, RESET);
		HAL_GPIO_WritePin(LED12_GPIO_Port, LED12_Pin, RESET);
		break;
	case 10:
		HAL_GPIO_WritePin(LED1_GPIO_Port, LED1_Pin, SET);
		HAL_GPIO_WritePin(LED2_GPIO_Port, LED2_Pin, RESET);
		HAL_GPIO_WritePin(LED3_GPIO_Port, LED3_Pin, RESET);
		HAL_GPIO_WritePin(LED4_GPIO_Port, LED4_Pin, RESET);
		HAL_GPIO_WritePin(LED5_GPIO_Port, LED5_Pin, RESET);
		HAL_GPIO_WritePin(LED6_GPIO_Port, LED6_Pin, RESET);
		HAL_GPIO_WritePin(LED7_GPIO_Port, LED7_Pin, RESET);
		HAL_GPIO_WritePin(LED8_GPIO_Port, LED8_Pin, RESET);
		HAL_GPIO_WritePin(LED9_GPIO_Port, LED9_Pin, RESET);
		HAL_GPIO_WritePin(LED10_GPIO_Port, LED10_Pin, RESET);
		HAL_GPIO_WritePin(LED11_GPIO_Port, LED11_Pin, RESET);
		HAL_GPIO_WritePin(LED12_GPIO_Port, LED12_Pin, RESET);
		break;
	case 11:
		HAL_GPIO_WritePin(LED1_GPIO_Port, LED1_Pin, RESET);
		HAL_GPIO_WritePin(LED2_GPIO_Port, LED2_Pin, RESET);
		HAL_GPIO_WritePin(LED3_GPIO_Port, LED3_Pin, RESET);
		HAL_GPIO_WritePin(LED4_GPIO_Port, LED4_Pin, RESET);
		HAL_GPIO_WritePin(LED5_GPIO_Port, LED5_Pin, RESET);
		HAL_GPIO_WritePin(LED6_GPIO_Port, LED6_Pin, RESET);
		HAL_GPIO_WritePin(LED7_GPIO_Port, LED7_Pin, RESET);
		HAL_GPIO_WritePin(LED8_GPIO_Port, LED8_Pin, RESET);
		HAL_GPIO_WritePin(LED9_GPIO_Port, LED9_Pin, RESET);
		HAL_GPIO_WritePin(LED10_GPIO_Port, LED10_Pin, SET);
		HAL_GPIO_WritePin(LED11_GPIO_Port, LED11_Pin, RESET);
		HAL_GPIO_WritePin(LED12_GPIO_Port, LED12_Pin, RESET);
		break;
	default:
		break;
	}
	count++;
}

void openAllClock()
{
	HAL_GPIO_WritePin(LED1_GPIO_Port, LED1_Pin, SET);
	HAL_GPIO_WritePin(LED2_GPIO_Port, LED2_Pin, SET);
	HAL_GPIO_WritePin(LED3_GPIO_Port, LED3_Pin, SET);
	HAL_GPIO_WritePin(LED4_GPIO_Port, LED4_Pin, SET);
	HAL_GPIO_WritePin(LED5_GPIO_Port, LED5_Pin, SET);
	HAL_GPIO_WritePin(LED6_GPIO_Port, LED6_Pin, SET);
	HAL_GPIO_WritePin(LED7_GPIO_Port, LED7_Pin, SET);
	HAL_GPIO_WritePin(LED8_GPIO_Port, LED8_Pin, SET);
	HAL_GPIO_WritePin(LED9_GPIO_Port, LED9_Pin, SET);
	HAL_GPIO_WritePin(LED10_GPIO_Port, LED10_Pin, SET);
	HAL_GPIO_WritePin(LED11_GPIO_Port, LED11_Pin, SET);
	HAL_GPIO_WritePin(LED12_GPIO_Port, LED12_Pin, SET);
}

void clearAllClock()
{
	HAL_GPIO_WritePin(LED1_GPIO_Port, LED1_Pin, RESET);
	HAL_GPIO_WritePin(LED2_GPIO_Port, LED2_Pin, RESET);
	HAL_GPIO_WritePin(LED3_GPIO_Port, LED3_Pin, RESET);
	HAL_GPIO_WritePin(LED4_GPIO_Port, LED4_Pin, RESET);
	HAL_GPIO_WritePin(LED5_GPIO_Port, LED5_Pin, RESET);
	HAL_GPIO_WritePin(LED6_GPIO_Port, LED6_Pin, RESET);
	HAL_GPIO_WritePin(LED7_GPIO_Port, LED7_Pin, RESET);
	HAL_GPIO_WritePin(LED8_GPIO_Port, LED8_Pin, RESET);
	HAL_GPIO_WritePin(LED9_GPIO_Port, LED9_Pin, RESET);
	HAL_GPIO_WritePin(LED10_GPIO_Port, LED10_Pin, RESET);
	HAL_GPIO_WritePin(LED11_GPIO_Port, LED11_Pin, RESET);
	HAL_GPIO_WritePin(LED12_GPIO_Port, LED12_Pin, RESET);
}

void setNumberOnClock(int num)
{
	switch (num)
	{
	case 0:
		HAL_GPIO_WritePin(LED11_GPIO_Port, LED11_Pin, SET);
		break;
	case 1:
		HAL_GPIO_WritePin(LED12_GPIO_Port, LED12_Pin, SET);
		break;
	case 2:
		HAL_GPIO_WritePin(LED7_GPIO_Port, LED7_Pin, SET);
		break;
	case 3:
		HAL_GPIO_WritePin(LED8_GPIO_Port, LED8_Pin, SET);
		break;
	case 4:
		HAL_GPIO_WritePin(LED9_GPIO_Port, LED9_Pin, SET);
		break;
	case 5:
		HAL_GPIO_WritePin(LED6_GPIO_Port, LED6_Pin, SET);
		break;
	case 6:
		HAL_GPIO_WritePin(LED5_GPIO_Port, LED5_Pin, SET);
		break;
	case 7:
		HAL_GPIO_WritePin(LED4_GPIO_Port, LED4_Pin, SET);
		break;
	case 8:
		HAL_GPIO_WritePin(LED3_GPIO_Port, LED3_Pin, SET);
		break;
	case 9:
		HAL_GPIO_WritePin(LED2_GPIO_Port, LED2_Pin, SET);
		break;
	case 10:
		HAL_GPIO_WritePin(LED1_GPIO_Port, LED1_Pin, SET);
		break;
	case 11:
		HAL_GPIO_WritePin(LED10_GPIO_Port, LED10_Pin, SET);
		break;
	default:
		break;
	}
}

void clearNumberOnClock(int num)
{
	switch (num)
	{
	case 0:
		HAL_GPIO_WritePin(LED11_GPIO_Port, LED11_Pin, RESET);
		break;
	case 1:
		HAL_GPIO_WritePin(LED12_GPIO_Port, LED12_Pin, RESET);
		break;
	case 2:
		HAL_GPIO_WritePin(LED7_GPIO_Port, LED7_Pin, RESET);
		break;
	case 3:
		HAL_GPIO_WritePin(LED8_GPIO_Port, LED8_Pin, RESET);
		break;
	case 4:
		HAL_GPIO_WritePin(LED9_GPIO_Port, LED9_Pin, RESET);
		break;
	case 5:
		HAL_GPIO_WritePin(LED6_GPIO_Port, LED6_Pin, RESET);
		break;
	case 6:
		HAL_GPIO_WritePin(LED5_GPIO_Port, LED5_Pin, RESET);
		break;
	case 7:
		HAL_GPIO_WritePin(LED4_GPIO_Port, LED4_Pin, RESET);
		break;
	case 8:
		HAL_GPIO_WritePin(LED3_GPIO_Port, LED3_Pin, RESET);
		break;
	case 9:
		HAL_GPIO_WritePin(LED2_GPIO_Port, LED2_Pin, RESET);
		break;
	case 10:
		HAL_GPIO_WritePin(LED1_GPIO_Port, LED1_Pin, RESET);
		break;
	case 11:
		HAL_GPIO_WritePin(LED10_GPIO_Port, LED10_Pin, RESET);
		break;
	default:
		break;
	}
}

void Exercise10_run()
{
	int tmp1= (second-1) / 5;
	int tmp2= second / 5;
	if (tmp1 != tmp2) clearNumberOnClock(tmp1);
	setNumberOnClock(second / 5);

	if (second >= 60)
	{
		minute++;
		second = 0;
		int tmp3=(minute-1) / 5;
		int tmp4= minute / 5;
		if (tmp3!= tmp4)clearNumberOnClock(tmp3);
	}
	if (minute >= 60)
	{
		clearNumberOnClock(hour++);
		minute = 0;
	}
	if (hour >= 12){
		hour = 0;
	}

	setNumberOnClock(minute / 5);

	setNumberOnClock(hour);

	second++;
}
/* USER CODE END 4 */

void Error_Handler(void)
{
  __disable_irq();
  while (1)
  {
  }
}

/************************ (C) COPYRIGHT STMicroelectronics *****END OF FILE****/
